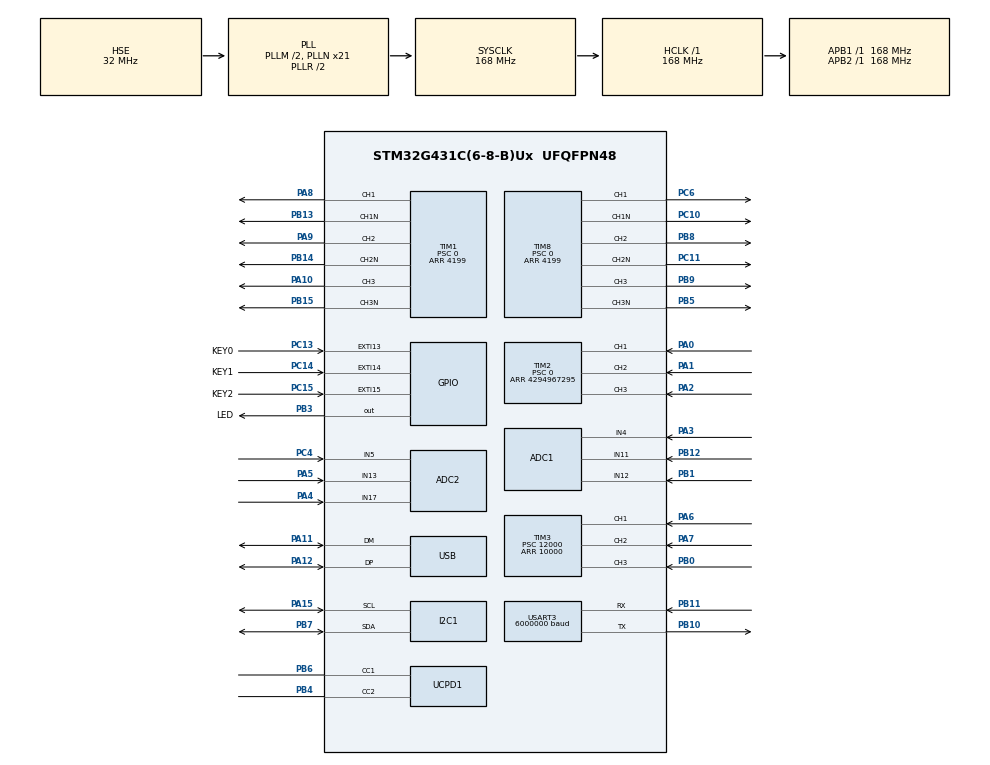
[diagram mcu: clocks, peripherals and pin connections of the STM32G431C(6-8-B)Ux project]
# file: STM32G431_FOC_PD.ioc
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ADC1.Channel-5\#ChannelRegularConversion=ADC_CHANNEL_4
ADC1.Channel-6\#ChannelRegularConversion=ADC_CHANNEL_12
ADC1.Channel-7\#ChannelRegularConversion=ADC_CHANNEL_11
ADC1.DMAContinuousRequests=ENABLE
ADC1.DiscontinuousConvMode=ENABLE
ADC1.EOCSelection=ADC_EOC_SEQ_CONV
ADC1.ExternalTrigConv=ADC_EXTERNALTRIG_T1_TRGO
ADC1.NbrOfConversion=3
ADC1.NbrOfConversionFlag=1
ADC1.NbrOfDiscConversion=3
ADC1.OffsetNumber-5\#ChannelRegularConversion=ADC_OFFSET_NONE
ADC1.OffsetNumber-6\#ChannelRegularConversion=ADC_OFFSET_NONE
ADC1.OffsetNumber-7\#ChannelRegularConversion=ADC_OFFSET_NONE
ADC1.Rank-5\#ChannelRegularConversion=1
ADC1.Rank-6\#ChannelRegularConversion=2
ADC1.Rank-7\#ChannelRegularConversion=3
ADC1.SamplingTime-5\#ChannelRegularConversion=ADC_SAMPLETIME_24CYCLES_5
ADC1.SamplingTime-6\#ChannelRegularConversion=ADC_SAMPLETIME_24CYCLES_5
ADC1.SamplingTime-7\#ChannelRegularConversion=ADC_SAMPLETIME_24CYCLES_5
ADC1.master=1
ADC2.Channel-21\#ChannelRegularConversion=ADC_CHANNEL_13
ADC2.Channel-22\#ChannelRegularConversion=ADC_CHANNEL_5
ADC2.Channel-23\#ChannelRegularConversion=ADC_CHANNEL_17
ADC2.DMAContinuousRequests=ENABLE
ADC2.DiscontinuousConvMode=ENABLE
ADC2.EOCSelection=ADC_EOC_SEQ_CONV
ADC2.ExternalTrigConv=ADC_EXTERNALTRIG_T8_TRGO
ADC2.NbrOfConversion=3
ADC2.NbrOfConversionFlag=1
ADC2.NbrOfDiscConversion=3
ADC2.OffsetNumber-21\#ChannelRegularConversion=ADC_OFFSET_NONE
ADC2.OffsetNumber-22\#ChannelRegularConversion=ADC_OFFSET_NONE
ADC2.OffsetNumber-23\#ChannelRegularConversion=ADC_OFFSET_NONE
ADC2.Rank-21\#ChannelRegularConversion=1
ADC2.Rank-22\#ChannelRegularConversion=2
ADC2.Rank-23\#ChannelRegularConversion=3
ADC2.SamplingTime-21\#ChannelRegularConversion=ADC_SAMPLETIME_24CYCLES_5
ADC2.SamplingTime-22\#ChannelRegularConversion=ADC_SAMPLETIME_24CYCLES_5
ADC2.SamplingTime-23\#ChannelRegularConversion=ADC_SAMPLETIME_24CYCLES_5
Dma.ADC1.0.Direction=DMA_PERIPH_TO_MEMORY
Dma.ADC1.0.EventEnable=DISABLE
Dma.ADC1.0.Instance=DMA1_Channel1
Dma.ADC1.0.MemDataAlignment=DMA_MDATAALIGN_HALFWORD
Dma.ADC1.0.MemInc=DMA_MINC_ENABLE
Dma.ADC1.0.Mode=DMA_CIRCULAR
Dma.ADC1.0.PeriphDataAlignment=DMA_PDATAALIGN_HALFWORD
Dma.ADC1.0.PeriphInc=DMA_PINC_DISABLE
Dma.ADC1.0.Polarity=HAL_DMAMUX_REQ_GEN_RISING
Dma.ADC1.0.Priority=DMA_PRIORITY_LOW
Dma.ADC1.0.RequestNumber=1
Dma.ADC1.0.SignalID=NONE
Dma.ADC1.0.SyncEnable=DISABLE
Dma.ADC1.0.SyncPolarity=HAL_DMAMUX_SYNC_NO_EVENT
Dma.ADC1.0.SyncRequestNumber=1
Dma.ADC1.0.SyncSignalID=NONE
Dma.ADC2.1.Direction=DMA_PERIPH_TO_MEMORY
Dma.ADC2.1.EventEnable=DISABLE
Dma.ADC2.1.Instance=DMA2_Channel1
Dma.ADC2.1.MemDataAlignment=DMA_MDATAALIGN_HALFWORD
Dma.ADC2.1.MemInc=DMA_MINC_ENABLE
Dma.ADC2.1.Mode=DMA_CIRCULAR
Dma.ADC2.1.PeriphDataAlignment=DMA_PDATAALIGN_HALFWORD
Dma.ADC2.1.PeriphInc=DMA_PINC_DISABLE
Dma.ADC2.1.Polarity=HAL_DMAMUX_REQ_GEN_RISING
Dma.ADC2.1.Priority=DMA_PRIORITY_LOW
Dma.ADC2.1.RequestNumber=1
Dma.ADC2.1.SignalID=NONE
Dma.ADC2.1.SyncEnable=DISABLE
Dma.ADC2.1.SyncPolarity=HAL_DMAMUX_SYNC_NO_EVENT
Dma.ADC2.1.SyncRequestNumber=1
Dma.ADC2.1.SyncSignalID=NONE
Dma.Request0=ADC1
Dma.Request1=ADC2
Dma.Request2=USART3_TX
Dma.USART3_TX.2.Direction=DMA_MEMORY_TO_PERIPH
Dma.USART3_TX.2.EventEnable=DISABLE
Dma.USART3_TX.2.Instance=DMA1_Channel2
Dma.USART3_TX.2.MemDataAlignment=DMA_MDATAALIGN_BYTE
Dma.USART3_TX.2.MemInc=DMA_MINC_ENABLE
Dma.USART3_TX.2.Mode=DMA_NORMAL
Dma.USART3_TX.2.PeriphDataAlignment=DMA_PDATAALIGN_BYTE
Dma.USART3_TX.2.PeriphInc=DMA_PINC_DISABLE
Dma.USART3_TX.2.Polarity=HAL_DMAMUX_REQ_GEN_RISING
Dma.USART3_TX.2.Priority=DMA_PRIORITY_LOW
Dma.USART3_TX.2.RequestNumber=1
Dma.USART3_TX.2.SignalID=NONE
Dma.USART3_TX.2.SyncEnable=DISABLE
Dma.USART3_TX.2.SyncPolarity=HAL_DMAMUX_SYNC_NO_EVENT
Dma.USART3_TX.2.SyncRequestNumber=1
Dma.USART3_TX.2.SyncSignalID=NONE
I2C1.Timing=0x60505F8C
Mcu.Family=STM32G4
Mcu.Name=STM32G431C(6-8-B)Ux
Mcu.Package=UFQFPN48
NVIC.DMA1_Channel1_IRQn=true\:1\:0\:true\:false\:true\:false\:true\:true
NVIC.DMA1_Channel2_IRQn=true\:2\:0\:true\:false\:true\:false\:true\:true
NVIC.DMA2_Channel1_IRQn=true\:1\:0\:true\:false\:true\:false\:true\:true
NVIC.EXTI15_10_IRQn=true\:0\:0\:false\:false\:true\:true\:true\:true
NVIC.PriorityGroup=NVIC_PRIORITYGROUP_4
NVIC.TIM2_IRQn=true\:2\:0\:true\:false\:true\:true\:true\:true
NVIC.TIM3_IRQn=true\:2\:0\:true\:false\:true\:true\:true\:true
NVIC.USART3_IRQn=true\:2\:0\:true\:false\:true\:true\:true\:true
PA0.Signal=S_TIM2_CH1
PA1.Signal=S_TIM2_CH2
PA10.GPIO_PuPd=GPIO_PULLUP
PA10.GPIO_Speed=GPIO_SPEED_FREQ_VERY_HIGH
PA10.Signal=S_TIM1_CH3
PA11.Mode=Device
PA11.Signal=USB_DM
PA12.Mode=Device
PA12.Signal=USB_DP
PA13.Mode=Serial_Wire
PA13.Signal=SYS_JTMS-SWDIO
PA14.Mode=Serial_Wire
PA14.Signal=SYS_JTCK-SWCLK
PA15.Mode=I2C
PA15.Signal=I2C1_SCL
PA2.Signal=S_TIM2_CH3
PA3.Mode=IN4-Single-Ended
PA3.Signal=ADC1_IN4
PA4.Mode=IN17-Single-Ended
PA4.Signal=ADC2_IN17
PA5.Mode=IN13-Single-Ended
PA5.Signal=ADC2_IN13
PA6.Signal=S_TIM3_CH1
PA7.Signal=S_TIM3_CH2
PA8.GPIO_PuPd=GPIO_PULLUP
PA8.GPIO_Speed=GPIO_SPEED_FREQ_VERY_HIGH
PA8.Signal=S_TIM1_CH1
PA9.GPIO_PuPd=GPIO_PULLUP
PA9.GPIO_Speed=GPIO_SPEED_FREQ_VERY_HIGH
PA9.Signal=S_TIM1_CH2
PB0.Signal=S_TIM3_CH3
PB1.Mode=IN12-Single-Ended
PB1.Signal=ADC1_IN12
PB10.Mode=Asynchronous
PB10.Signal=USART3_TX
PB11.Mode=Asynchronous
PB11.Signal=USART3_RX
PB12.Mode=IN11-Single-Ended
PB12.Signal=ADC1_IN11
PB13.GPIO_PuPd=GPIO_PULLUP
PB13.GPIO_Speed=GPIO_SPEED_FREQ_VERY_HIGH
PB13.Mode=PWM Generation1 CH1 CH1N
PB13.Signal=TIM1_CH1N
PB14.GPIO_PuPd=GPIO_PULLUP
PB14.GPIO_Speed=GPIO_SPEED_FREQ_VERY_HIGH
PB14.Mode=PWM Generation2 CH2 CH2N
PB14.Signal=TIM1_CH2N
PB15.GPIO_PuPd=GPIO_PULLUP
PB15.GPIO_Speed=GPIO_SPEED_FREQ_VERY_HIGH
PB15.Mode=PWM Generation3 CH3 CH3N
PB15.Signal=TIM1_CH3N
PB2.Signal=ADC2_IN12
PB3.GPIO_Label=LED
PB3.GPIO_PuPd=GPIO_PULLUP
PB3.PinState=GPIO_PIN_SET
PB3.Signal=GPIO_Output
PB4.Mode=Sink_AllSignals
PB4.Signal=UCPD1_CC2
PB5.GPIO_PuPd=GPIO_PULLUP
PB5.GPIO_Speed=GPIO_SPEED_FREQ_MEDIUM
PB5.Mode=PWM Generation3 CH3 CH3N
PB5.Signal=TIM8_CH3N
PB6.Mode=Sink_AllSignals
PB6.Signal=UCPD1_CC1
PB7.Mode=I2C
PB7.Signal=I2C1_SDA
PB8-BOOT0.GPIO_PuPd=GPIO_PULLUP
PB8-BOOT0.GPIO_Speed=GPIO_SPEED_FREQ_MEDIUM
PB8-BOOT0.Signal=S_TIM8_CH2
PB9.GPIO_PuPd=GPIO_PULLUP
PB9.GPIO_Speed=GPIO_SPEED_FREQ_MEDIUM
PB9.Signal=S_TIM8_CH3
PC10.GPIO_PuPd=GPIO_PULLUP
PC10.GPIO_Speed=GPIO_SPEED_FREQ_MEDIUM
PC10.Mode=PWM Generation1 CH1 CH1N
PC10.Signal=TIM8_CH1N
PC11.GPIO_PuPd=GPIO_PULLUP
PC11.GPIO_Speed=GPIO_SPEED_FREQ_MEDIUM
PC11.Mode=Output Compare2 CH2 CH2N
PC11.Signal=TIM8_CH2N
PC13.GPIO_Label=KEY0
PC13.GPIO_ModeDefaultEXTI=GPIO_MODE_IT_FALLING
PC13.GPIO_PuPd=GPIO_PULLUP
PC13.Signal=GPXTI13
PC14-OSC32_IN.GPIO_Label=KEY1
PC14-OSC32_IN.GPIO_ModeDefaultEXTI=GPIO_MODE_IT_FALLING
PC14-OSC32_IN.GPIO_PuPd=GPIO_PULLUP
PC14-OSC32_IN.Signal=GPXTI14
PC15-OSC32_OUT.GPIO_Label=KEY2
PC15-OSC32_OUT.GPIO_ModeDefaultEXTI=GPIO_MODE_IT_FALLING
PC15-OSC32_OUT.GPIO_PuPd=GPIO_PULLUP
PC15-OSC32_OUT.Signal=GPXTI15
PC4.Mode=IN5-Single-Ended
PC4.Signal=ADC2_IN5
PC6.GPIO_PuPd=GPIO_PULLUP
PC6.GPIO_Speed=GPIO_SPEED_FREQ_MEDIUM
PC6.Signal=S_TIM8_CH1
PF0-OSC_IN.Mode=HSE-External-Oscillator
PF0-OSC_IN.Signal=RCC_OSC_IN
PF1-OSC_OUT.Mode=HSE-External-Oscillator
PF1-OSC_OUT.Signal=RCC_OSC_OUT
ProjectManager.HeapSize=0x200
ProjectManager.StackSize=0x400
ProjectManager.TargetToolchain=CMake
RCC.ADC12Freq_Value=168000000
RCC.AHBFreq_Value=168000000
RCC.APB1Freq_Value=168000000
RCC.APB1TimFreq_Value=168000000
RCC.APB2Freq_Value=168000000
RCC.APB2TimFreq_Value=168000000
RCC.CK48CLockSelection=RCC_USBCLKSOURCE_HSI48
RCC.CortexFreq_Value=168000000
RCC.EXTERNAL_CLOCK_VALUE=12288000
RCC.HCLKFreq_Value=168000000
RCC.HSE_VALUE=32000000
RCC.HSI48_VALUE=48000000
RCC.HSI_VALUE=16000000
RCC.LSE_VALUE=32768
RCC.PLLM=RCC_PLLM_DIV2
RCC.PLLN=21
RCC.PLLQ=RCC_PLLQ_DIV8
RCC.PLLSourceVirtual=RCC_PLLSOURCE_HSE
RCC.SYSCLKFreq_VALUE=168000000
RCC.SYSCLKSource=RCC_SYSCLKSOURCE_PLLCLK
RCC.USBFreq_Value=48000000
RCC.VCOOutputFreq_Value=336000000
SH.S_TIM1_CH1.0=TIM1_CH1,PWM Generation1 CH1 CH1N
SH.S_TIM1_CH2.0=TIM1_CH2,PWM Generation2 CH2 CH2N
SH.S_TIM1_CH3.0=TIM1_CH3,PWM Generation3 CH3 CH3N
SH.S_TIM2_CH1.0=TIM2_CH1,Xored_Inputs_Hall_Sensor_Interface
SH.S_TIM2_CH2.0=TIM2_CH2,Xored_Inputs_Hall_Sensor_Interface
SH.S_TIM2_CH3.0=TIM2_CH3,Xored_Inputs_Hall_Sensor_Interface
SH.S_TIM3_CH1.0=TIM3_CH1,Xored_Inputs_Hall_Sensor_Interface
SH.S_TIM3_CH2.0=TIM3_CH2,Xored_Inputs_Hall_Sensor_Interface
SH.S_TIM3_CH3.0=TIM3_CH3,Xored_Inputs_Hall_Sensor_Interface
SH.S_TIM8_CH1.0=TIM8_CH1,PWM Generation1 CH1 CH1N
SH.S_TIM8_CH2.0=TIM8_CH2,Output Compare2 CH2 CH2N
SH.S_TIM8_CH3.0=TIM8_CH3,PWM Generation3 CH3 CH3N
TIM1.AutoReloadPreload=TIM_AUTORELOAD_PRELOAD_DISABLE
TIM1.Channel-PWM\ Generation1\ CH1\ CH1N=TIM_CHANNEL_1
TIM1.Channel-PWM\ Generation2\ CH2\ CH2N=TIM_CHANNEL_2
TIM1.Channel-PWM\ Generation3\ CH3\ CH3N=TIM_CHANNEL_3
TIM1.Channel-PWM\ Generation4\ No\ Output=TIM_CHANNEL_4
TIM1.CounterMode=TIM_COUNTERMODE_CENTERALIGNED1
TIM1.DeadTime=50
TIM1.OCFastMode_PWM-PWM\ Generation1\ CH1\ CH1N=TIM_OCFAST_DISABLE
TIM1.OCFastMode_PWM-PWM\ Generation2\ CH2\ CH2N=TIM_OCFAST_DISABLE
TIM1.OCFastMode_PWM-PWM\ Generation3\ CH3\ CH3N=TIM_OCFAST_DISABLE
TIM1.PeriodNoDither=4199
TIM1.Prescaler=0
TIM1.RepetitionCounter=0
TIM1.TIM_MasterOutputTrigger=TIM_TRGO_OC4REF
TIM2.PeriodNoDither=4294967295
TIM2.Prescaler=0
TIM3.PeriodNoDither=10000
TIM3.Prescaler=12000
TIM8.AutoReloadPreload=TIM_AUTORELOAD_PRELOAD_DISABLE
TIM8.Channel-Output\ Compare2\ CH2\ CH2N=TIM_CHANNEL_2
TIM8.Channel-PWM\ Generation1\ CH1\ CH1N=TIM_CHANNEL_1
TIM8.Channel-PWM\ Generation3\ CH3\ CH3N=TIM_CHANNEL_3
TIM8.Channel-PWM\ Generation4\ No\ Output=TIM_CHANNEL_4
TIM8.CounterMode=TIM_COUNTERMODE_CENTERALIGNED1
TIM8.DeadTime=50
TIM8.DeadTimePreload=DISABLE
TIM8.Dithering=Disable
TIM8.OCFastMode_PWM-PWM\ Generation1\ CH1\ CH1N=TIM_OCFAST_DISABLE
TIM8.OCFastMode_PWM-PWM\ Generation3\ CH3\ CH3N=TIM_OCFAST_DISABLE
TIM8.OCMode_PWM-PWM\ Generation1\ CH1\ CH1N=TIM_OCMODE_PWM1
TIM8.OCMode_PWM-PWM\ Generation3\ CH3\ CH3N=TIM_OCMODE_PWM1
TIM8.PeriodNoDither=4199
TIM8.Prescaler=0
TIM8.RepetitionCounter=1
TIM8.TIM_MasterOutputTrigger=TIM_TRGO_OC4REF
TIM8.TIM_MasterOutputTrigger2=TIM_TRGO2_RESET
USART3.BaudRate=6000000
USART3.TXFIFOThreshold=TXFIFO_THRESHOLD_1EIGHTHFULL
USART3.VirtualMode-Asynchronous=VM_ASYNC
VP_SYS_VS_DBSignals.Mode=DisableDeadBatterySignals
VP_TIM1_VS_ClockSourceINT.Mode=Internal
VP_TIM1_VS_no_output4.Mode=PWM Generation4 No Output
VP_TIM2_VS_ClockSourceINT.Mode=Internal
VP_TIM3_VS_ClockSourceINT.Mode=Internal
VP_TIM8_VS_ClockSourceINT.Mode=Internal
VP_TIM8_VS_no_output4.Mode=PWM Generation4 No Output
board=custom

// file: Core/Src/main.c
/* USER CODE BEGIN Header */
/**
  ******************************************************************************
  * @file           : main.c
  * @brief          : Main program body
  ******************************************************************************
  * @attention
  *
  * Copyright (c) 2025 STMicroelectronics.
  * All rights reserved.
  *
  * This software is licensed under terms that can be found in the LICENSE file
  * in the root directory of this software component.
  * If no LICENSE file comes with this software, it is provided AS-IS.
  *
  ******************************************************************************
  */
/* USER CODE END Header */
#include "main.h"
#include "adc.h"
#include "dma.h"
#include "i2c.h"
#include "tim.h"
#include "ucpd.h"
#include "usart.h"
#include "gpio.h"

/* USER CODE BEGIN Includes */
#include "Motor_port_template_G431.h"
#include <stdint.h>
/* USER CODE END Includes */

/* USER CODE BEGIN PV */
static const uint16_t delay_ms[] = {100, 100, 100, 700};
static uint8_t delay_idx = 0;
FOC_t *FOC_motor[4] = {NULL};
/* USER CODE END PV */

void SystemClock_Config(void);

int main(void)
{

  /* MCU Configuration--------------------------------------------------------*/

  /* Reset of all peripherals, Initializes the Flash interface and the Systick. */
  HAL_Init();

  /* Configure the system clock */
  SystemClock_Config();

  /* Initialize all configured peripherals */
  MX_GPIO_Init();
  MX_DMA_Init();
  MX_ADC1_Init();
  MX_ADC2_Init();
  MX_TIM1_Init();
  MX_TIM2_Init();
  MX_TIM3_Init();
  MX_TIM8_Init();
  MX_USB_PCD_Init();
  MX_I2C1_Init();
  MX_UCPD1_Init();
  MX_USART3_UART_Init();
  /* USER CODE BEGIN 2 */
  FOC_motor[0] = motor_init(&htim1, &hadc1, NULL);
  FOC_motor[1] = motor_init(&htim8, &hadc2, &htim2);
  /* USER CODE END 2 */

  /* Infinite loop */
  /* USER CODE BEGIN WHILE */
  while (1)
  {
    HAL_GPIO_TogglePin(LED_GPIO_Port, LED_Pin);
    HAL_Delay(delay_ms[delay_idx++&0x3]);
    /* USER CODE END WHILE */

  }
}

void SystemClock_Config(void)
{
  RCC_OscInitTypeDef RCC_OscInitStruct = {0};
  RCC_ClkInitTypeDef RCC_ClkInitStruct = {0};

  /** Configure the main internal regulator output voltage
  */
  HAL_PWREx_ControlVoltageScaling(PWR_REGULATOR_VOLTAGE_SCALE1_BOOST);

  /** Initializes the RCC Oscillators according to the specified parameters
  * in the RCC_OscInitTypeDef structure.
  */
  RCC_OscInitStruct.OscillatorType = RCC_OSCILLATORTYPE_HSI|RCC_OSCILLATORTYPE_HSI48
                              |RCC_OSCILLATORTYPE_HSE;
  RCC_OscInitStruct.HSEState = RCC_HSE_ON;
  RCC_OscInitStruct.HSIState = RCC_HSI_ON;
  RCC_OscInitStruct.HSICalibrationValue = RCC_HSICALIBRATION_DEFAULT;
  RCC_OscInitStruct.HSI48State = RCC_HSI48_ON;
  RCC_OscInitStruct.PLL.PLLState = RCC_PLL_ON;
  RCC_OscInitStruct.PLL.PLLSource = RCC_PLLSOURCE_HSE;
  RCC_OscInitStruct.PLL.PLLM = RCC_PLLM_DIV2;
  RCC_OscInitStruct.PLL.PLLN = 21;
  RCC_OscInitStruct.PLL.PLLP = RCC_PLLP_DIV2;
  RCC_OscInitStruct.PLL.PLLQ = RCC_PLLQ_DIV8;
  RCC_OscInitStruct.PLL.PLLR = RCC_PLLR_DIV2;
  if (HAL_RCC_OscConfig(&RCC_OscInitStruct) != HAL_OK)
  {
    Error_Handler();
  }

  /** Initializes the CPU, AHB and APB buses clocks
  */
  RCC_ClkInitStruct.ClockType = RCC_CLOCKTYPE_HCLK|RCC_CLOCKTYPE_SYSCLK
                              |RCC_CLOCKTYPE_PCLK1|RCC_CLOCKTYPE_PCLK2;
  RCC_ClkInitStruct.SYSCLKSource = RCC_SYSCLKSOURCE_PLLCLK;
  RCC_ClkInitStruct.AHBCLKDivider = RCC_SYSCLK_DIV1;
  RCC_ClkInitStruct.APB1CLKDivider = RCC_HCLK_DIV1;
  RCC_ClkInitStruct.APB2CLKDivider = RCC_HCLK_DIV1;

  if (HAL_RCC_ClockConfig(&RCC_ClkInitStruct, FLASH_LATENCY_4) != HAL_OK)
  {
    Error_Handler();
  }
}

/* USER CODE BEGIN 4 */
void HAL_TIM_IC_CaptureCallback(TIM_HandleTypeDef *htim)
{
  // if(htim == FOC_motor[1]->pSensor->priv)
  // {
  //   uint8_t sector[1] = {HALL1_U_GPIO_Port->IDR & 0x7};
  //   FOC_motor[1]->pSensor->update(FOC_motor[1]->pSensor, sector, 1);

  //   // // if(htim->Channel == HAL_TIM_ACTIVE_CHANNEL_1)
  //   //   param.speed = HAL_TIM_ReadCapturedValue(&htim2, TIM_CHANNEL_1);
  //   // param.HallA[2] = HAL_GPIO_ReadPin(HALL1_U_GPIO_Port, HALL1_U_Pin);
  //   // param.HallA[1] = HAL_GPIO_ReadPin(HALL1_V_GPIO_Port, HALL1_V_Pin);
  //   // param.HallA[0] = HAL_GPIO_ReadPin(HALL1_W_GPIO_Port, HALL1_W_Pin);
  // }
  // else if(htim == &htim3)
  // {
  //   // param.HallB[2] = HAL_GPIO_ReadPin(HALL2_U_GPIO_Port, HALL2_U_Pin);
  //   // param.HallB[1] = HAL_GPIO_ReadPin(HALL2_V_GPIO_Port, HALL2_V_Pin);
  //   // param.HallB[0] = HAL_GPIO_ReadPin(HALL2_W_GPIO_Port, HALL2_W_Pin);
  // }
}

void HAL_ADC_ConvCpltCallback(ADC_HandleTypeDef *hadc)
{
    if(hadc == FOC_motor[1]->pRsSamp->pADC->priv)
    {
      FOC_motor[1]->Process(FOC_motor[1]);
    }
    else if(hadc == FOC_motor[0]->pRsSamp->pADC->priv)
    {
      FOC_motor[0]->Process(FOC_motor[0]);
    }
}

void HAL_GPIO_EXTI_Callback(uint16_t GPIO_Pin)
{

  if(GPIO_Pin == KEY0_Pin)
  {
    FOC_motor[0]->Enable(FOC_motor[0]);
  }
  else if(GPIO_Pin == KEY1_Pin)
  {
    FOC_motor[1]->Enable(FOC_motor[1]);
	}
  else if(GPIO_Pin == KEY2_Pin)
  {
    FOC_motor[1]->tar_iq += 0.25;
  }
}
/* USER CODE END 4 */

void Error_Handler(void)
{
  __disable_irq();
  while (1)
  {
  }
}
